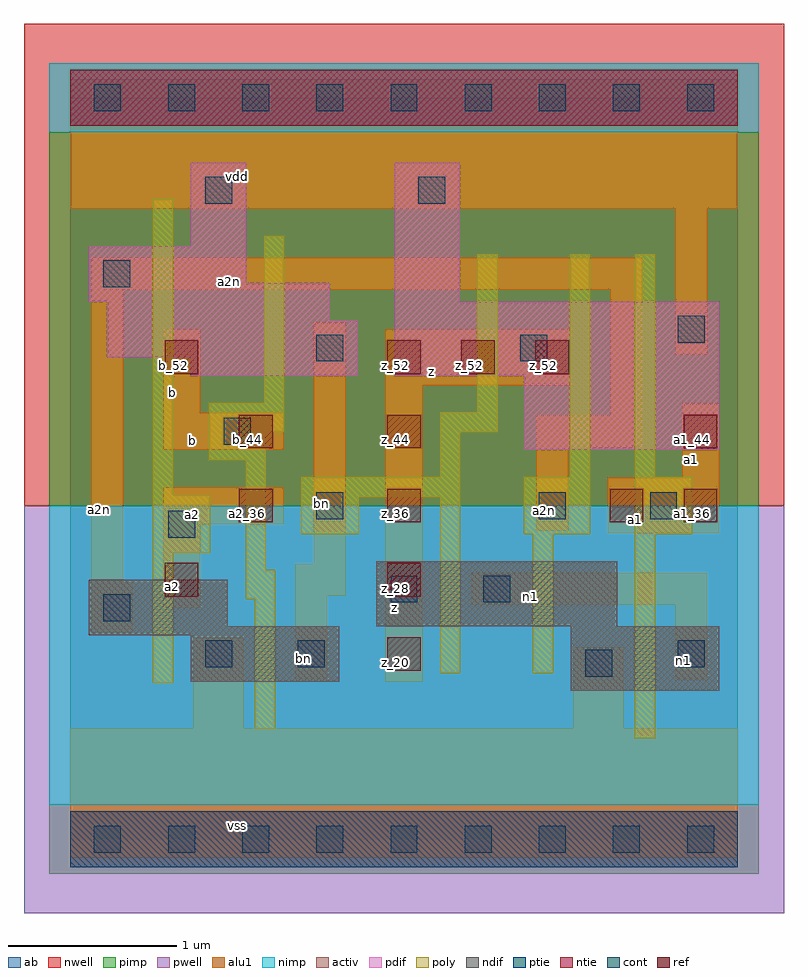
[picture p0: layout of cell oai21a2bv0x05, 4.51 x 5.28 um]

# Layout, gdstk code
import gdstk
lib = gdstk.Library(unit=1e-6, precision=2.5e-09)
def R(c, l, rs):  # rectangles x0, y0, x1, y1
    for r in rs: c.add(gdstk.rectangle(r[:2], r[2:], *l))
def A(c, l, x, y, w, h, nx, ny, dx, dy):  # array of equal rectangles
    R(c, l, [(x+i*dx, y+j*dy, x+i*dx+w, y+j*dy+h) for i in range(nx) for j in range(ny)])
ndif = (3, 0)
pdif = (4, 0)
ntie = (5, 0)
ptie = (6, 0)
ref = (24, 0)
cont = (25, 0)
pwell = (41, 0)
nwell = (42, 0)
activ = (43, 0)
pimp = (44, 0)
nimp = (45, 0)
poly = (46, 0)
alu1 = (49, 0)
ab = (63, 0)

oai21a2bv0x05 = lib.new_cell('oai21a2bv0x05')
R(oai21a2bv0x05, ndif, [(2.97,0.88,3.85,1.265), (0.715,0.935,1.595,1.21), (0.11,1.21,1.595,1.265), (0.11,1.265,0.935,1.54), (1.815,1.265,3.245,1.65)])
R(oai21a2bv0x05, pdif, [(2.695,2.31,3.85,2.75), (0.715,2.75,1.705,2.86), (1.925,2.75,3.85,3.19), (0.22,2.86,1.705,3.08), (0.22,3.08,1.54,3.19), (0.11,3.19,1.54,3.3), (1.925,3.19,2.31,4.015), (0.11,3.3,1.045,3.52), (0.715,3.52,1.045,4.015)])
R(oai21a2bv0x05, ntie, [(0,4.235,3.96,4.565)])
R(oai21a2bv0x05, ptie, [(0,-0.165,3.96,0.165)])
A(oai21a2bv0x05, ref, 1.88, 1, 0.2, 0.2, 1, 4, 0, 0.44)
A(oai21a2bv0x05, ref, 1.88, 2.76, 0.2, 0.2, 3, 1, 0.44, 0)
R(oai21a2bv0x05, ref, [(0.56,1.44,0.76,1.64), (1,1.88,1.2,2.08), (3.2,1.88,3.4,2.08), (3.64,1.88,3.84,2.08), (1,2.32,1.2,2.52), (3.64,2.32,3.84,2.52), (0.56,2.76,0.76,2.96)])
A(oai21a2bv0x05, cont, 0.14, -0.08, 0.16, 0.16, 9, 2, 0.44, 4.4)
R(oai21a2bv0x05, cont, [(3.055,0.965,3.215,1.125), (0.8,1.02,0.96,1.18), (1.35,1.02,1.51,1.18), (3.605,1.02,3.765,1.18), (0.195,1.295,0.355,1.455), (1.9,1.405,2.06,1.565), (2.45,1.405,2.61,1.565), (0.58,1.79,0.74,1.95), (1.46,1.9,1.62,2.06), (2.78,1.9,2.94,2.06), (3.44,1.9,3.6,2.06), (0.91,2.34,1.07,2.5), (1.46,2.835,1.62,2.995), (2.67,2.835,2.83,2.995), (3.605,2.945,3.765,3.105), (0.195,3.275,0.355,3.435), (0.8,3.77,0.96,3.93), (2.065,3.77,2.225,3.93)])
R(oai21a2bv0x05, pwell, [(-0.275,-0.44,4.235,1.98)])
R(oai21a2bv0x05, nwell, [(-0.275,1.98,4.235,4.84)])
R(oai21a2bv0x05, activ, [(0,-0.165,3.96,0.165), (2.97,0.88,3.85,1.265), (0.715,0.935,1.595,1.21), (0.11,1.21,1.595,1.265), (0.11,1.265,0.935,1.54), (1.815,1.265,3.245,1.65), (2.695,2.31,3.85,2.75), (0.715,2.75,1.705,2.86), (1.925,2.75,3.85,3.19), (0.22,2.86,1.705,3.08), (0.22,3.08,1.54,3.19), (0.11,3.19,1.54,3.3), (1.925,3.19,2.31,4.015), (0.11,3.3,1.045,3.52), (0.715,3.52,1.045,4.015), (0,4.235,3.96,4.565)])
R(oai21a2bv0x05, pimp, [(-0.125,-0.205,4.085,0.205), (-0.125,1.98,4.085,4.195)])
R(oai21a2bv0x05, nimp, [(-0.125,0.205,4.085,1.98), (-0.125,4.195,4.085,4.605)])
R(oai21a2bv0x05, poly, [(3.35,0.6,3.47,1.81), (1.095,0.655,1.215,1.425), (0.49,0.93,0.61,1.7), (2.195,0.985,2.315,2.03), (2.745,0.985,2.865,1.81), (1.04,1.425,1.215,1.6), (1.04,1.6,1.16,2.25), (0.49,1.7,0.83,2.04), (1.37,1.81,1.71,2.03), (2.69,1.81,3.085,2.15), (3.35,1.81,3.69,2.15), (1.37,2.03,2.315,2.15), (0.49,2.04,0.61,3.8), (2.195,2.15,2.315,2.415), (2.965,2.15,3.085,3.47), (3.35,2.15,3.47,3.47), (0.82,2.25,1.16,2.415), (0.82,2.415,1.27,2.59), (2.195,2.415,2.535,2.535), (2.415,2.535,2.535,3.47), (1.15,2.59,1.27,3.58)])
R(oai21a2bv0x05, alu1, [(0,-0.11,3.96,0.66), (0.73,0.66,1.03,1.195), (2.985,0.66,3.285,1.14), (1.87,0.935,2.09,2.695), (1.335,0.95,1.525,1.445), (3.59,0.95,3.78,1.39), (0.125,1.225,0.37,1.525), (0.55,1.375,0.77,1.87), (2.38,1.39,3.78,1.58), (1.335,1.445,1.635,1.635), (0.125,1.525,0.315,3.26), (1.445,1.635,1.635,3.065), (3.19,1.815,3.85,2.145), (2.765,1.83,2.955,2.325), (0.55,1.87,1.265,2.09), (3.63,2.145,3.85,2.585), (0.55,2.31,1.265,2.53), (2.765,2.325,3.395,2.515), (3.205,2.515,3.395,3.26), (0.55,2.53,0.77,3.025), (1.87,2.695,2.97,3.025), (3.59,2.875,3.78,3.74), (0.125,3.26,3.395,3.45), (0,3.74,3.96,4.51)])
R(oai21a2bv0x05, ab, [(0,0,3.96,4.4)])
oai21a2bv0x05.add(gdstk.Label('vss', (0.99,0.0825), layer=49, texttype=0))
oai21a2bv0x05.add(gdstk.Label('n1', (3.6375,1.06), layer=49, texttype=0))
oai21a2bv0x05.add(gdstk.Label('n1', (2.73,1.4375), layer=49, texttype=0))
oai21a2bv0x05.add(gdstk.Label('a1', (3.355,1.8975), layer=49, texttype=0))
oai21a2bv0x05.add(gdstk.Label('a1', (3.685,2.255), layer=49, texttype=0))
oai21a2bv0x05.add(gdstk.Label('a2n', (2.8125,1.9525), layer=49, texttype=0))
oai21a2bv0x05.add(gdstk.Label('z', (1.925,1.375), layer=49, texttype=0))
oai21a2bv0x05.add(gdstk.Label('bn', (1.3825,1.0725), layer=49, texttype=0))
oai21a2bv0x05.add(gdstk.Label('z', (2.145,2.7775), layer=49, texttype=0))
oai21a2bv0x05.add(gdstk.Label('bn', (1.4925,1.9925), layer=49, texttype=0))
oai21a2bv0x05.add(gdstk.Label('a2', (0.605,1.4975), layer=49, texttype=0))
oai21a2bv0x05.add(gdstk.Label('a2', (0.7275,1.925), layer=49, texttype=0))
oai21a2bv0x05.add(gdstk.Label('b', (0.7275,2.365), layer=49, texttype=0))
oai21a2bv0x05.add(gdstk.Label('b', (0.605,2.6525), layer=49, texttype=0))
oai21a2bv0x05.add(gdstk.Label('a2n', (0.1725,1.9575), layer=49, texttype=0))
oai21a2bv0x05.add(gdstk.Label('a2n', (0.9425,3.3075), layer=49, texttype=0))
oai21a2bv0x05.add(gdstk.Label('vdd', (0.99,3.9325), layer=49, texttype=0))
oai21a2bv0x05.add(gdstk.Label('b_52', (0.61,2.81), layer=24, texttype=0))
oai21a2bv0x05.add(gdstk.Label('a1_36', (3.25,1.93), layer=24, texttype=0))
oai21a2bv0x05.add(gdstk.Label('a1_36', (3.69,1.93), layer=24, texttype=0))
oai21a2bv0x05.add(gdstk.Label('z_36', (1.93,1.93), layer=24, texttype=0))
oai21a2bv0x05.add(gdstk.Label('z_28', (1.93,1.49), layer=24, texttype=0))
oai21a2bv0x05.add(gdstk.Label('b_44', (1.05,2.37), layer=24, texttype=0))
oai21a2bv0x05.add(gdstk.Label('a2_36', (1.05,1.93), layer=24, texttype=0))
oai21a2bv0x05.add(gdstk.Label('a2_28', (0.61,1.49), layer=24, texttype=0))
oai21a2bv0x05.add(gdstk.Label('z_44', (1.93,2.37), layer=24, texttype=0))
oai21a2bv0x05.add(gdstk.Label('z_52', (2.37,2.81), layer=24, texttype=0))
oai21a2bv0x05.add(gdstk.Label('z_52', (1.93,2.81), layer=24, texttype=0))
oai21a2bv0x05.add(gdstk.Label('z_52', (2.81,2.81), layer=24, texttype=0))
oai21a2bv0x05.add(gdstk.Label('z_20', (1.93,1.05), layer=24, texttype=0))
oai21a2bv0x05.add(gdstk.Label('a1_44', (3.69,2.37), layer=24, texttype=0))

lib.write_gds('oai21a2bv0x05.gds')
